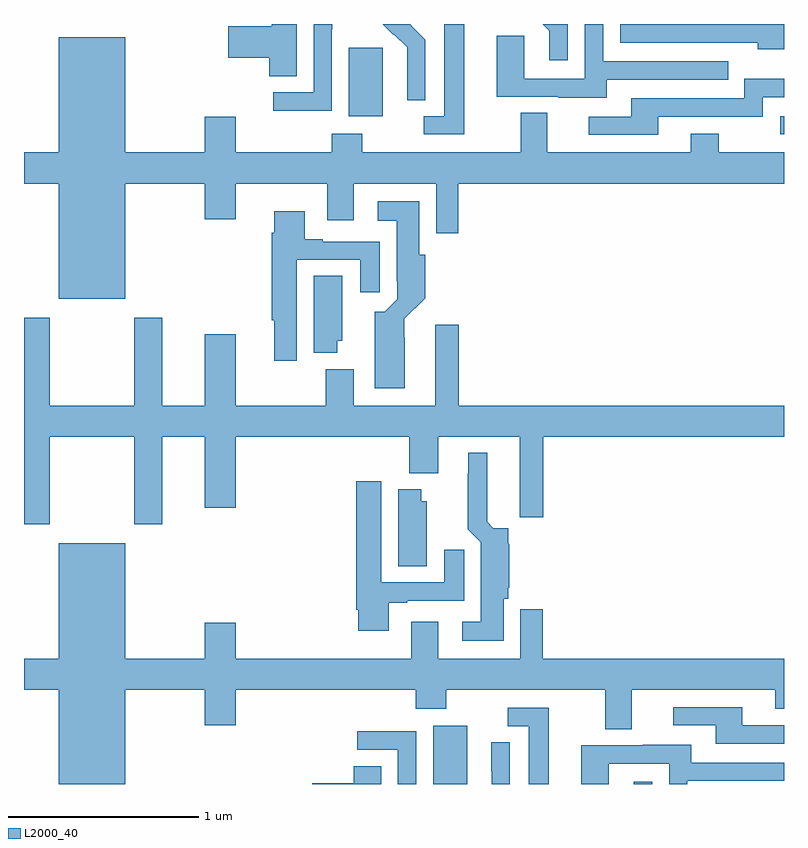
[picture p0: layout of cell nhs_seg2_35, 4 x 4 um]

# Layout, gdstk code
import gdstk
lib = gdstk.Library(unit=1e-6, precision=1e-09)
def R(c, l, rs):  # rectangles x0, y0, x1, y1
    for r in rs: c.add(gdstk.rectangle(r[:2], r[2:], *l))
def P(c, l, *ps):  # polygons
    for p in ps: c.add(gdstk.Polygon(p, *l))
L2000_40 = (2000, 40)

nhs_seg2_35 = lib.new_cell('nhs_seg2_35')
R(nhs_seg2_35, L2000_40, [(113.153,653.8,113.332,654.106), (114.209,653.8,114.306,653.812), (114.981,657.219,115,657.315), (112.709,657.314,112.888,657.675)])
P(nhs_seg2_35, L2000_40, [(113.862,657.8),(113.73,657.8),(113.765,657.765),(113.765,657.609),(113.862,657.609)],
  [(112.435,657.8),(112.304,657.8),(112.304,657.787),(112.074,657.787),(112.074,657.622),(112.292,657.622),(112.292,657.526),(112.435,657.526)],
  [(113.317,657.8),(113.213,657.8),(113.213,657.315),(113.103,657.315),(113.103,657.219),(113.317,657.219)],
  [(114.067,657.507),(114.707,657.507),(114.707,657.603),(114.048,657.603),(114.048,657.8),(113.952,657.8),(113.952,657.513),(113.634,657.513),(113.634,657.737),(113.489,657.737),(113.489,657.417),(113.813,657.417),(113.813,657.413),(114.067,657.413)],
  [(112.62,657.772),(112.623,657.772),(112.623,657.8),(112.524,657.8),(112.524,657.441),(112.311,657.441),(112.311,657.343),(112.62,657.343)],
  [(113.112,657.718),(113.039,657.791),(113.04,657.792),(113.032,657.8),(112.888,657.8),(112.944,657.744),(112.947,657.747),(113.018,657.677),(113.018,657.554),(113.016,657.554),(113.016,657.4),(113.112,657.4)],
  [(115,657.798),(114.247,657.798),(114.247,657.8),(114.138,657.8),(114.138,657.702),(114.863,657.702),(114.863,657.668),(115,657.668)],
  [(111.532,656.96),(111.95,656.96),(111.95,656.772),(112.114,656.772),(112.114,656.96),(112.595,656.96),(112.595,656.766),(112.735,656.766),(112.735,656.96),(113.169,656.96),(113.169,656.7),(113.285,656.7),(113.285,656.96),(115,656.96),(115,657.124),(114.657,657.124),(114.657,657.223),(114.509,657.223),(114.509,657.124),(113.755,657.124),(113.755,657.332),(113.615,657.332),(113.615,657.124),(112.779,657.124),(112.779,657.223),(112.619,657.223),(112.619,657.124),(112.114,657.124),(112.114,657.313),(111.95,657.313),(111.95,657.124),(111.532,657.124),(111.532,657.73),(111.182,657.73),(111.182,657.124),(111,657.124),(111,656.96),(111.182,656.96),(111.182,656.354),(111.532,656.354)],
  [(114.337,657.312),(114.888,657.312),(114.888,657.414),(115,657.414),(115,657.511),(114.792,657.511),(114.792,657.408),(114.197,657.408),(114.197,657.312),(113.973,657.312),(113.973,657.216),(114.337,657.216)],
  [(113.005,656.15),(113.001,656.15),(113.001,656.248),(113.111,656.357),(113.111,656.586),(113.08,656.586),(113.08,656.866),(112.863,656.866),(112.863,656.765),(112.961,656.765),(112.961,656.446),(112.965,656.446),(112.965,656.352),(112.899,656.286),(112.847,656.286),(112.847,655.883),(113.005,655.883)],
  [(112.435,656.559),(112.769,656.559),(112.769,656.388),(112.873,656.388),(112.873,656.655),(112.573,656.655),(112.573,656.668),(112.477,656.668),(112.477,656.815),(112.316,656.815),(112.316,656.702),(112.304,656.702),(112.304,656.24),(112.316,656.24),(112.316,656.028),(112.435,656.028)],
  [(112.648,656.133),(112.675,656.133),(112.675,656.474),(112.526,656.474),(112.526,656.069),(112.648,656.069)],
  [(111.135,655.628),(111.58,655.628),(111.58,655.167),(111.727,655.167),(111.727,655.628),(111.95,655.628),(111.95,655.254),(112.114,655.254),(112.114,655.628),(113.027,655.628),(113.027,655.436),(113.179,655.436),(113.179,655.628),(113.609,655.628),(113.609,655.203),(113.732,655.203),(113.732,655.628),(115,655.628),(115,655.792),(113.288,655.792),(113.288,656.218),(113.165,656.218),(113.165,655.792),(112.735,655.792),(112.735,655.984),(112.588,655.984),(112.588,655.792),(112.114,655.792),(112.114,656.167),(111.95,656.167),(111.95,655.792),(111.727,655.792),(111.727,656.254),(111.58,656.254),(111.58,655.792),(111.135,655.792),(111.135,656.254),(111,656.254),(111,655.167),(111.135,655.167)],
  [(113.524,654.774),(113.549,654.774),(113.549,654.834),(113.555,654.834),(113.555,655.061),(113.549,655.067),(113.549,655.146),(113.47,655.146),(113.437,655.18),(113.437,655.543),(113.339,655.543),(113.339,655.433),(113.335,655.433),(113.335,655.142),(113.405,655.072),(113.405,654.655),(113.307,654.655),(113.307,654.554),(113.524,654.554)],
  [(112.921,654.753),(113.017,654.753),(113.017,654.765),(113.317,654.765),(113.317,655.033),(113.213,655.033),(113.213,654.861),(112.879,654.861),(112.879,655.393),(112.748,655.393),(112.748,654.718),(112.76,654.718),(112.76,654.606),(112.921,654.606)],
  [(113.119,655.287),(113.092,655.287),(113.092,655.351),(112.97,655.351),(112.97,654.946),(113.119,654.946)],
  [(111.532,654.296),(111.95,654.296),(111.95,654.108),(112.114,654.108),(112.114,654.296),(113.063,654.296),(113.063,654.197),(113.223,654.197),(113.223,654.296),(114.059,654.296),(114.059,654.088),(114.199,654.088),(114.199,654.296),(114.953,654.296),(114.953,654.197),(115,654.197),(115,654.46),(113.729,654.46),(113.729,654.721),(113.613,654.721),(113.613,654.46),(113.179,654.46),(113.179,654.655),(113.039,654.655),(113.039,654.46),(112.114,654.46),(112.114,654.649),(111.95,654.649),(111.95,654.46),(111.532,654.46),(111.532,655.066),(111.182,655.066),(111.182,654.46),(111,654.46),(111,654.296),(111.182,654.296),(111.182,653.8),(111.532,653.8)],
  [(115,654.108),(114.781,654.108),(114.781,654.204),(114.417,654.204),(114.417,654.108),(114.641,654.108),(114.641,654.012),(115,654.012)],
  [(113.761,654.201),(113.547,654.201),(113.547,654.105),(113.657,654.105),(113.657,653.8),(113.761,653.8)],
  [(113.064,654.078),(112.755,654.078),(112.755,653.979),(112.968,653.979),(112.968,653.8),(113.064,653.8)],
  [(113.556,654.02),(113.46,654.02),(113.46,653.866),(113.462,653.866),(113.462,653.8),(113.556,653.8)],
  [(114.078,653.907),(114.396,653.907),(114.396,653.8),(114.492,653.8),(114.492,653.817),(115,653.817),(115,653.913),(114.511,653.913),(114.511,654.007),(114.257,654.007),(114.257,654.003),(113.933,654.003),(113.933,653.8),(114.078,653.8)],
  [(112.879,653.894),(112.736,653.894),(112.736,653.804),(112.518,653.804),(112.518,653.8),(112.879,653.8)])

lib.write_gds('nhs_seg2_35.gds')
